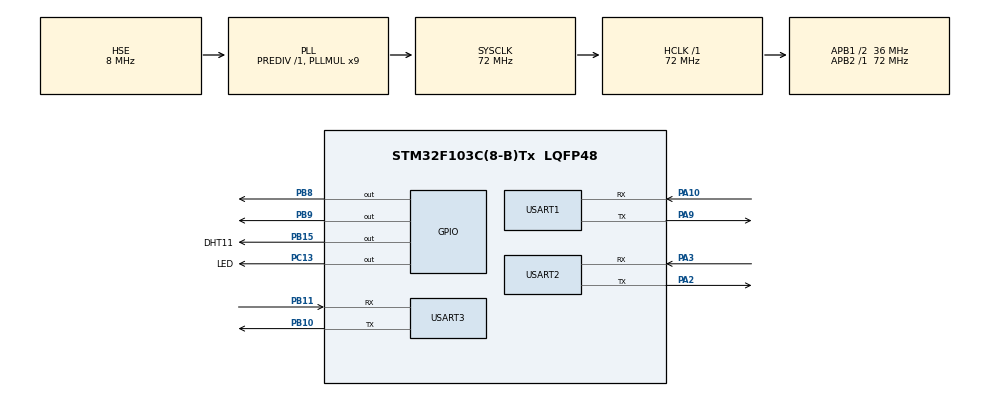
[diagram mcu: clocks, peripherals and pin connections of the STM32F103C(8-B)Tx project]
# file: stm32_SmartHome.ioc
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FREERTOS.Tasks01=defaultTask,24,128,StartDefaultTask,Default,NULL,Dynamic,NULL,NULL
Mcu.Family=STM32F1
Mcu.Name=STM32F103C(8-B)Tx
Mcu.Package=LQFP48
NVIC.PriorityGroup=NVIC_PRIORITYGROUP_4
NVIC.TIM2_IRQn=true\:5\:0\:false\:false\:true\:true\:true\:true\:true
NVIC.TIM4_IRQn=true\:15\:0\:false\:false\:true\:false\:false\:true\:true
NVIC.TimeBase=TIM4_IRQn
NVIC.TimeBaseIP=TIM4
NVIC.USART2_IRQn=true\:5\:0\:false\:false\:true\:true\:true\:true\:true
NVIC.USART3_IRQn=true\:5\:0\:false\:false\:true\:true\:true\:true\:true
PA10.Mode=Asynchronous
PA10.Signal=USART1_RX
PA13.Mode=Serial_Wire
PA13.Signal=SYS_JTMS-SWDIO
PA14.Mode=Serial_Wire
PA14.Signal=SYS_JTCK-SWCLK
PA2.Mode=Asynchronous
PA2.Signal=USART2_TX
PA3.Mode=Asynchronous
PA3.Signal=USART2_RX
PA9.Mode=Asynchronous
PA9.Signal=USART1_TX
PB10.Mode=Asynchronous
PB10.Signal=USART3_TX
PB11.Mode=Asynchronous
PB11.Signal=USART3_RX
PB15.GPIO_Label=DHT11
PB15.Signal=GPIO_Output
PB8.GPIO_ModeDefaultOutputPP=GPIO_MODE_OUTPUT_OD
PB8.GPIO_PuPd=GPIO_PULLUP
PB8.GPIO_Speed=GPIO_SPEED_FREQ_HIGH
PB8.Signal=GPIO_Output
PB9.GPIO_ModeDefaultOutputPP=GPIO_MODE_OUTPUT_OD
PB9.GPIO_PuPd=GPIO_PULLUP
PB9.GPIO_Speed=GPIO_SPEED_FREQ_HIGH
PB9.Signal=GPIO_Output
PC13-TAMPER-RTC.GPIO_Label=LED
PC13-TAMPER-RTC.Signal=GPIO_Output
PD0-OSC_IN.Mode=HSE-External-Oscillator
PD0-OSC_IN.Signal=RCC_OSC_IN
PD1-OSC_OUT.Mode=HSE-External-Oscillator
PD1-OSC_OUT.Signal=RCC_OSC_OUT
ProjectManager.HeapSize=0x200
ProjectManager.StackSize=0x400
ProjectManager.TargetToolchain=Makefile
RCC.AHBFreq_Value=72000000
RCC.APB1CLKDivider=RCC_HCLK_DIV2
RCC.APB1Freq_Value=36000000
RCC.APB1TimFreq_Value=72000000
RCC.APB2Freq_Value=72000000
RCC.APB2TimFreq_Value=72000000
RCC.HCLKFreq_Value=72000000
RCC.PLLMUL=RCC_PLL_MUL9
RCC.PLLSourceVirtual=RCC_PLLSOURCE_HSE
RCC.SYSCLKFreq_VALUE=72000000
RCC.SYSCLKSource=RCC_SYSCLKSOURCE_PLLCLK
RCC.USBFreq_Value=72000000
TIM2.Period=100-1
TIM2.Prescaler=7200-1
TIM3.Prescaler=72-1
USART1.VirtualMode=VM_ASYNC
USART2.VirtualMode=VM_ASYNC
USART3.VirtualMode=VM_ASYNC
VP_FREERTOS_VS_CMSIS_V2.Mode=CMSIS_V2
VP_SYS_VS_tim4.Mode=TIM4
VP_TIM2_VS_ClockSourceINT.Mode=Internal
VP_TIM3_VS_ClockSourceINT.Mode=Internal
board=custom

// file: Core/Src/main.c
/* USER CODE BEGIN Header */
/**
  ******************************************************************************
  * @file           : main.c
  * @brief          : Main program body
  ******************************************************************************
  * @attention
  *
  * Copyright (c) 2025 STMicroelectronics.
  * All rights reserved.
  *
  * This software is licensed under terms that can be found in the LICENSE file
  * in the root directory of this software component.
  * If no LICENSE file comes with this software, it is provided AS-IS.
  *
  ******************************************************************************
  */
/* USER CODE END Header */
#include "main.h"
#include "cmsis_os.h"
#include "tim.h"
#include "usart.h"
#include "gpio.h"

/* USER CODE BEGIN Includes */
#include "driver_dht11.h"
#include "driver_esp8266.h"
#include "uart_mana.h"
/* USER CODE END Includes */

void SystemClock_Config(void);
void MX_FREERTOS_Init(void);

int main(void)
{

  /* MCU Configuration--------------------------------------------------------*/

  /* Reset of all peripherals, Initializes the Flash interface and the Systick. */
  HAL_Init();

  /* Configure the system clock */
  SystemClock_Config();

  /* Initialize all configured peripherals */
  MX_GPIO_Init();
  MX_TIM2_Init();
  MX_USART1_UART_Init();
  MX_USART2_UART_Init();
  MX_TIM3_Init();
  MX_USART3_UART_Init();
  /* USER CODE BEGIN 2 */
  setup_uart_interrupt();
  //DHT11_Init();
  //ESP8266_Init();
  /* USER CODE END 2 */

  /* Init scheduler */
  osKernelInitialize();

  /* Call init function for freertos objects (in cmsis_os2.c) */
  MX_FREERTOS_Init();

  /* Start scheduler */
  osKernelStart();

  /* We should never get here as control is now taken by the scheduler */

  /* Infinite loop */
  while (1)
  {

  }
}

void SystemClock_Config(void)
{
  RCC_OscInitTypeDef RCC_OscInitStruct = {0};
  RCC_ClkInitTypeDef RCC_ClkInitStruct = {0};

  /** Initializes the RCC Oscillators according to the specified parameters
  * in the RCC_OscInitTypeDef structure.
  */
  RCC_OscInitStruct.OscillatorType = RCC_OSCILLATORTYPE_HSE;
  RCC_OscInitStruct.HSEState = RCC_HSE_ON;
  RCC_OscInitStruct.HSEPredivValue = RCC_HSE_PREDIV_DIV1;
  RCC_OscInitStruct.HSIState = RCC_HSI_ON;
  RCC_OscInitStruct.PLL.PLLState = RCC_PLL_ON;
  RCC_OscInitStruct.PLL.PLLSource = RCC_PLLSOURCE_HSE;
  RCC_OscInitStruct.PLL.PLLMUL = RCC_PLL_MUL9;
  if (HAL_RCC_OscConfig(&RCC_OscInitStruct) != HAL_OK)
  {
    Error_Handler();
  }

  /** Initializes the CPU, AHB and APB buses clocks
  */
  RCC_ClkInitStruct.ClockType = RCC_CLOCKTYPE_HCLK|RCC_CLOCKTYPE_SYSCLK
                              |RCC_CLOCKTYPE_PCLK1|RCC_CLOCKTYPE_PCLK2;
  RCC_ClkInitStruct.SYSCLKSource = RCC_SYSCLKSOURCE_PLLCLK;
  RCC_ClkInitStruct.AHBCLKDivider = RCC_SYSCLK_DIV1;
  RCC_ClkInitStruct.APB1CLKDivider = RCC_HCLK_DIV2;
  RCC_ClkInitStruct.APB2CLKDivider = RCC_HCLK_DIV1;

  if (HAL_RCC_ClockConfig(&RCC_ClkInitStruct, FLASH_LATENCY_2) != HAL_OK)
  {
    Error_Handler();
  }
}

void HAL_TIM_PeriodElapsedCallback(TIM_HandleTypeDef *htim)
{
  if (htim->Instance == TIM4) {
    HAL_IncTick();
  }
}

void Error_Handler(void)
{
  __disable_irq();
  while (1)
  {
  }
}

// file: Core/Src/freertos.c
/* USER CODE BEGIN Header */
/**
  ******************************************************************************
  * File Name          : freertos.c
  * Description        : Code for freertos applications
  ******************************************************************************
  * @attention
  *
  * Copyright (c) 2025 STMicroelectronics.
  * All rights reserved.
  *
  * This software is licensed under terms that can be found in the LICENSE file
  * in the root directory of this software component.
  * If no LICENSE file comes with this software, it is provided AS-IS.
  *
  ******************************************************************************
  */
/* USER CODE END Header */

#include "FreeRTOS.h"
#include "task.h"
#include "main.h"
#include "cmsis_os.h"

/* USER CODE BEGIN Includes */
#include "driver_led.h"
#include "driver_oled.h"
#include "driver_timer.h"
#include "driver_dht11.h"
#include "driver_esp8266.h"
#include "my_print.h"
/* USER CODE END Includes */

/* Definitions for defaultTask */
osThreadId_t defaultTaskHandle;
const osThreadAttr_t defaultTask_attributes = {
  .name = "defaultTask",
  .stack_size = 128 * 4,
  .priority = (osPriority_t) osPriorityNormal,
};

void StartDefaultTask(void *argument);

void MX_FREERTOS_Init(void); /* (MISRA C 2004 rule 8.1) */

void MX_FREERTOS_Init(void) {
  /* USER CODE BEGIN Init */
  	BaseType_t xReturn;
	TaskHandle_t xLedTaskHandle;
	TaskHandle_t xOledTaskHandle;
	TaskHandle_t xDht11TaskHandle;
	TaskHandle_t xTcpTxTaskHandle;
	OLED_Init();
	OLED_Clear();
  /* USER CODE END Init */

  /* Create the thread(s) */
  /* creation of defaultTask */
  defaultTaskHandle = osThreadNew(StartDefaultTask, NULL, &defaultTask_attributes);

  /* USER CODE BEGIN RTOS_THREADS */
	/* add threads, ... */
	//xReturn = xTaskCreate(Led_Test, "LedTask", 128, NULL, osPriorityNormal, &xLedTaskHandle);
	//xReturn = xTaskCreate(OLED_Test, "OledTask", 128, NULL, osPriorityLow, &xOledTaskHandle);
	xReturn = xTaskCreate(DHT11_Test, "Dht11Task", 128, NULL, osPriorityLow, &xDht11TaskHandle);
  /* USER CODE END RTOS_THREADS */

}

void StartDefaultTask(void *argument)
{
  for(;;)
  {
    osDelay(1);
  }
}
